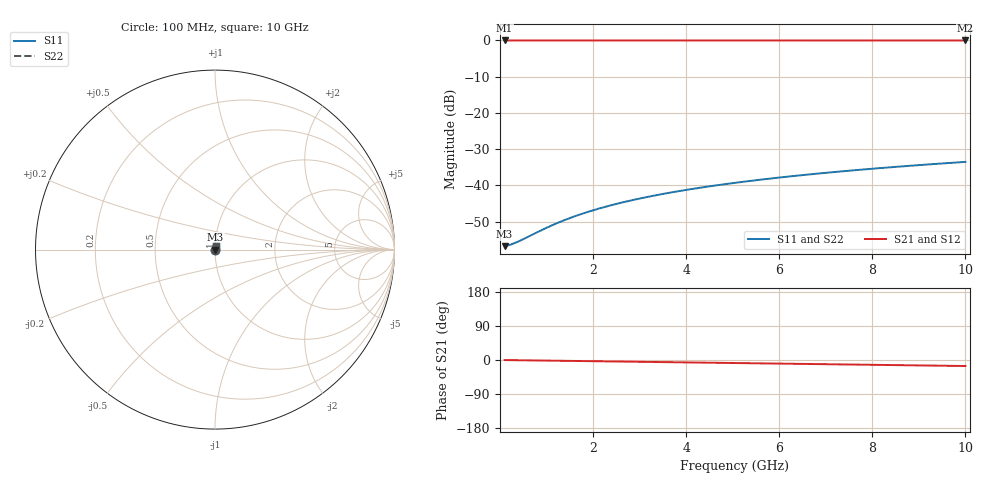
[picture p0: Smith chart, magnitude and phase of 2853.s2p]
# Hz S RI R 50.00
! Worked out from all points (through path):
!   100 points, 100 MHz to 10 GHz, reference 50 ohm
!   highest |S21| = -0.01 dB at 100 MHz (marker M1); lowest = 0.0 dB at 10 GHz (marker M2)
!   group delay of S21, straight-line fit = 4.41 ps
!   lowest |S11| = -56.8 dB at 100 MHz (marker M3), VSWR 1.00, Z = 50.1 + j0.0211 ohm
!   |S11| at or under -10 dB: start of sweep to end of sweep
!   |S22| runs from -56.8 to -33.5 dB; largest |S21 - S12| = 0
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1e8  0.00143 0.00021  0.9986 -0.00275  0.9986 -0.00275  0.00143 0.00021
2e8  0.00144 0.00042  0.9985 -0.00551  0.9985 -0.00551  0.00144 0.00042
3e8  0.00145 0.00063  0.9985 -0.00826  0.9985 -0.00826  0.00145 0.00063
4e8  0.00146 0.000839  0.9985 -0.011  0.9985 -0.011  0.00146 0.000839
1e9  0.00152 0.0021  0.9981 -0.0275  0.9981 -0.0275  0.00152 0.0021
1.3e9  0.00157 0.00272  0.9979 -0.0358  0.9979 -0.0358  0.00157 0.00272
1.5e9  0.0016 0.00314  0.9976 -0.0413  0.9976 -0.0413  0.0016 0.00314
1.8e9  0.00167 0.00377  0.9972 -0.0496  0.9972 -0.0496  0.00167 0.00377
2.1e9  0.00174 0.00439  0.9968 -0.0578  0.9968 -0.0578  0.00174 0.00439
2.5e9  0.00185 0.00522  0.9961 -0.0688  0.9961 -0.0688  0.00185 0.00522
2.9e9  0.00197 0.00604  0.9952 -0.0799  0.9952 -0.0799  0.00197 0.00604
3.4e9  0.00216 0.00707  0.994 -0.0936  0.994 -0.0936  0.00216 0.00707
3.8e9  0.00233 0.00789  0.9929 -0.1046  0.9929 -0.1046  0.00233 0.00789
4.2e9  0.00251 0.0087  0.9917 -0.1156  0.9917 -0.1156  0.00251 0.0087
4.6e9  0.00272 0.00951  0.9903 -0.1265  0.9903 -0.1265  0.00272 0.00951
5.1e9  0.003 0.0105  0.9884 -0.1402  0.9884 -0.1402  0.003 0.0105
5.9e9  0.00351 0.0121  0.985 -0.1621  0.985 -0.1621  0.00351 0.0121
6.7e9  0.00408 0.0137  0.9811 -0.1839  0.9811 -0.1839  0.00408 0.0137
7.5e9  0.00473 0.0152  0.9768 -0.2057  0.9768 -0.2057  0.00473 0.0152
8.4e9  0.00554 0.0169  0.9713 -0.23  0.9713 -0.23  0.00554 0.0169
9.2e9  0.00633 0.0184  0.9658 -0.2516  0.9658 -0.2516  0.00633 0.0184
1e10  0.00719 0.0198  0.9599 -0.2731  0.9599 -0.2731  0.00719 0.0198
